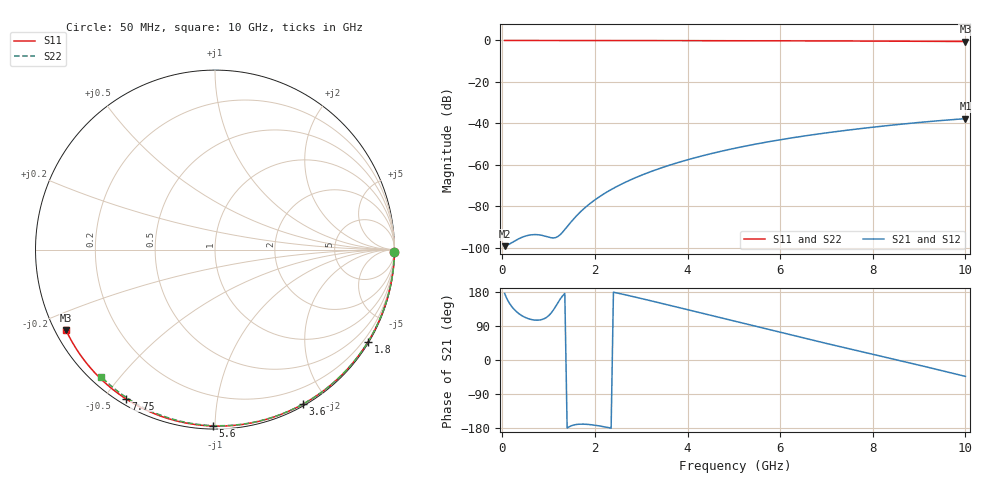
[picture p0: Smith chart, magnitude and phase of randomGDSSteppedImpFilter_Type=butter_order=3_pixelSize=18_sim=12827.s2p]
! freq	dB(S11)	phase(S11)	dB(S12)	phase(S12)
!  dB(S21)	phase(S21)	dB(S22)	phase(S22)
!S-par simulation data
#  GHz  S  DB  R 50
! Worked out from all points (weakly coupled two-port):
!   200 points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, 50 MHz to 10 GHz, reference 50 ohm
!   highest |S21| = -37.76 dB at 10 GHz (marker M1); lowest = -99.3 dB at 50 MHz (marker M2)
!   lowest |S11| = -0.5 dB at 10 GHz (marker M3), VSWR 34.52, Z = 1.54 - j12.6 ohm
!   |S11| at or under -10 dB: nowhere
!   |S22| runs from -0.4 to 0.0 dB; largest |S21 - S12| = 0
!   S11 on the Smith chart (normalised r, x): 50 MHz: open; 1.8 GHz: 0.03, -3.61; 3.6 GHz: 0.02, -1.72; 5.6 GHz: 0.02, -0.99; 7.75 GHz: 0.02, -0.57; 10 GHz: 0.03, -0.25
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0.05  -0.00 -0.9  -99.26 175.7  -99.26 175.7  -0.00 -0.8
0.45  -0.01 -7.9  -94.77 115.1  -94.77 115.1  -0.01 -6.9
0.9  -0.02 -15.7  -94.27 108.7  -94.27 108.7  -0.02 -13.6
1.3  -0.03 -22.5  -92.56 168.9  -92.56 168.9  -0.02 -19.6
1.75  -0.04 -30.2  -81.41 -169.3  -81.41 -169.3  -0.03 -26.3
1.8  -0.04 -31.0  -80.42 -169.5  -80.42 -169.5  -0.03 -27.0
1.85  -0.04 -31.8  -79.48 -170.0  -79.48 -170.0  -0.04 -27.7
2.05  -0.04 -35.2  -76.12 -173.1  -76.12 -173.1  -0.04 -30.7
2.2  -0.05 -37.7  -73.93 -176.2  -73.93 -176.2  -0.04 -32.9
2.5  -0.05 -42.7  -70.15 176.3  -70.15 176.3  -0.05 -37.2
2.9  -0.06 -49.2  -65.99 165.2  -65.99 165.2  -0.06 -42.9
3.4  -0.08 -57.3  -61.74 150.6  -61.74 150.6  -0.07 -50.0
3.6  -0.08 -60.4  -60.26 144.7  -60.26 144.7  -0.07 -52.8
4.3  -0.10 -71.3  -55.78 123.9  -55.78 123.9  -0.09 -62.4
5.05  -0.13 -82.7  -51.88 101.4  -51.88 101.4  -0.11 -72.4
5.6  -0.15 -90.8  -49.47 84.9  -49.47 84.9  -0.13 -79.5
6.15  -0.18 -98.7  -47.36 68.5  -47.36 68.5  -0.15 -86.5
6.7  -0.21 -106.5  -45.51 52.4  -45.51 52.4  -0.18 -93.3
7.75  -0.28 -121.0  -42.49 22.2  -42.49 22.2  -0.24 -105.9
8.35  -0.33 -129.2  -41.01 5.1  -41.01 5.1  -0.29 -112.9
9.2  -0.41 -140.8  -39.16 -19.4  -39.16 -19.4  -0.36 -122.7
10  -0.50 -151.7  -37.76 -43.3  -37.76 -43.3  -0.44 -131.8
